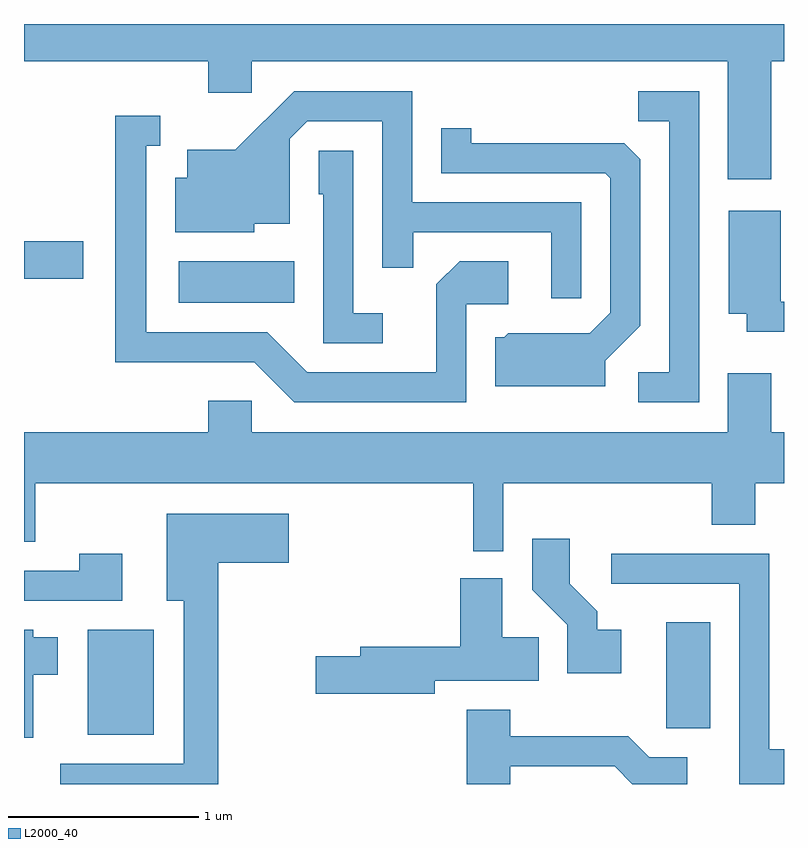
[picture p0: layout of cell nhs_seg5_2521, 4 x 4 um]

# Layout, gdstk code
import gdstk
lib = gdstk.Library(unit=1e-6, precision=1e-09)
def R(c, l, rs):  # rectangles x0, y0, x1, y1
    for r in rs: c.add(gdstk.rectangle(r[:2], r[2:], *l))
def P(c, l, *ps):  # polygons
    for p in ps: c.add(gdstk.Polygon(p, *l))
L2000_40 = (2000, 40)

nhs_seg5_2521 = lib.new_cell('nhs_seg5_2521')
R(nhs_seg5_2521, L2000_40, [(259.946,1484.331,260.294,1484.884), (262.991,1484.366,263.224,1484.924), (260.426,1486.606,261.034,1486.824), (259.611,1486.731,259.924,1486.929)])
P(nhs_seg5_2521, L2000_40, [(263.544,1487.876),(263.611,1487.876),(263.611,1488.072),(259.611,1488.072),(259.611,1487.876),(260.581,1487.876),(260.581,1487.711),(260.809,1487.711),(260.809,1487.876),(263.316,1487.876),(263.316,1487.256),(263.544,1487.256)],
  [(262.544,1487.134),(261.654,1487.134),(261.654,1487.719),(261.034,1487.719),(260.724,1487.409),(260.471,1487.409),(260.471,1487.264),(260.406,1487.264),(260.406,1486.976),(260.824,1486.976),(260.824,1487.021),(261.009,1487.021),(261.009,1487.469),(261.102,1487.561),(261.496,1487.561),(261.496,1486.788),(261.659,1486.788),(261.659,1486.976),(262.386,1486.976),(262.386,1486.628),(262.544,1486.628)],
  [(263.164,1487.719),(262.843,1487.719),(262.843,1487.561),(263.006,1487.561),(263.006,1486.239),(262.843,1486.239),(262.843,1486.081),(263.164,1486.081)],
  [(261.939,1486.596),(262.159,1486.596),(262.159,1486.824),(261.904,1486.824),(261.781,1486.702),(261.781,1486.239),(261.102,1486.239),(260.892,1486.449),(260.254,1486.449),(260.254,1487.431),(260.328,1487.431),(260.328,1487.589),(260.091,1487.589),(260.091,1486.291),(260.824,1486.291),(261.034,1486.081),(261.939,1486.081)],
  [(262.669,1486.299),(262.854,1486.484),(262.854,1487.359),(262.769,1487.444),(261.964,1487.444),(261.964,1487.523),(261.806,1487.523),(261.806,1487.286),(262.669,1487.286),(262.696,1487.259),(262.696,1486.552),(262.589,1486.444),(262.159,1486.444),(262.139,1486.424),(262.091,1486.424),(262.091,1486.166),(262.669,1486.166)],
  [(261.498,1486.549),(261.344,1486.549),(261.344,1487.404),(261.161,1487.404),(261.161,1487.176),(261.186,1487.176),(261.186,1486.391),(261.498,1486.391)],
  [(263.611,1486.609),(263.594,1486.609),(263.594,1487.089),(263.321,1487.089),(263.321,1486.546),(263.416,1486.546),(263.416,1486.451),(263.611,1486.451)],
  [(262.134,1485.656),(263.231,1485.656),(263.231,1485.436),(263.459,1485.436),(263.459,1485.656),(263.611,1485.656),(263.611,1485.924),(263.544,1485.924),(263.544,1486.234),(263.316,1486.234),(263.316,1485.924),(260.809,1485.924),(260.809,1486.089),(260.581,1486.089),(260.581,1485.924),(259.611,1485.924),(259.611,1485.346),(259.669,1485.346),(259.669,1485.656),(261.976,1485.656),(261.976,1485.298),(262.134,1485.298)],
  [(260.634,1485.236),(261.004,1485.236),(261.004,1485.494),(260.361,1485.494),(260.361,1485.036),(260.451,1485.036),(260.451,1484.179),(259.803,1484.179),(259.803,1484.072),(260.634,1484.072)],
  [(262.754,1484.884),(262.629,1484.884),(262.629,1484.982),(262.484,1485.127),(262.484,1485.364),(262.286,1485.364),(262.286,1485.094),(262.471,1484.909),(262.471,1484.656),(262.754,1484.656)],
  [(263.611,1484.254),(263.534,1484.254),(263.534,1485.284),(262.703,1485.284),(262.703,1485.126),(263.376,1485.126),(263.376,1484.072),(263.611,1484.072)],
  [(260.129,1485.284),(259.901,1485.284),(259.901,1485.194),(259.611,1485.194),(259.611,1485.036),(260.129,1485.036)],
  [(261.774,1484.616),(262.319,1484.616),(262.319,1484.844),(262.129,1484.844),(262.129,1485.154),(261.906,1485.154),(261.906,1484.794),(261.381,1484.794),(261.381,1484.744),(261.146,1484.744),(261.146,1484.546),(261.774,1484.546)],
  [(259.659,1484.646),(259.789,1484.646),(259.789,1484.844),(259.659,1484.844),(259.659,1484.884),(259.611,1484.884),(259.611,1484.316),(259.659,1484.316)],
  [(262.169,1484.166),(262.719,1484.166),(262.813,1484.072),(263.103,1484.072),(263.103,1484.214),(262.902,1484.214),(262.792,1484.324),(262.169,1484.324),(262.169,1484.464),(261.941,1484.464),(261.941,1484.072),(262.169,1484.072)])

lib.write_gds('nhs_seg5_2521.gds')
